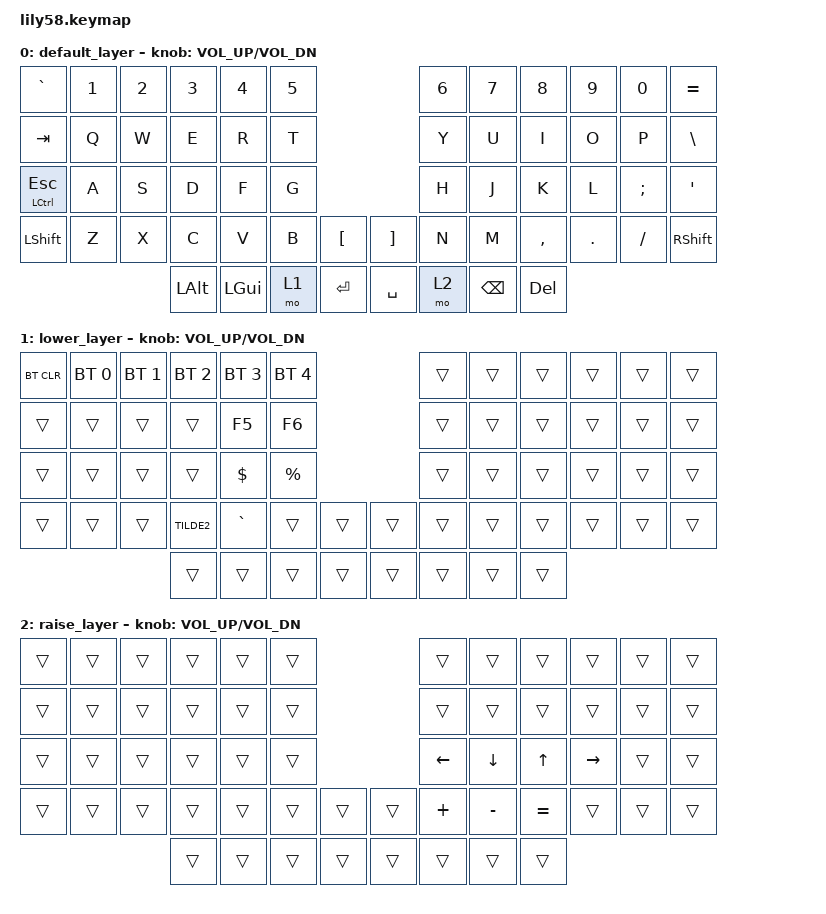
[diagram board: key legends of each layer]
/*
 * Copyright (c) 2020 The ZMK Contributors
 *
 * SPDX-License-Identifier: MIT
 */

#include <behaviors.dtsi>
#include <dt-bindings/zmk/keys.h>
#include <dt-bindings/zmk/bt.h>
#include <dt-bindings/zmk/ext_power.h>

/ {
	keymap {
		compatible = "zmk,keymap";

		default_layer {
// ------------------------------------------------------------------------------------------------------------
// |   `   |  1  |  2  |  3   |  4   |  5   |                   |  6   |  7    |  8    |  9   |   0   |   =   |
// |  TAB  |  Q  |  W  |  E   |  R   |  T   |                   |  Y   |  U    |  I    |  O   |   P   |   \   |
// |  CTRL |  A  |  S  |  D   |  F   |  G   |                   |  H   |  J    |  K    |  L   |   ;   |   '   |
// | SHIFT |  Z  |  X  |  C   |  V   |  B   |   "["  |  |  "]"  |  N   |  M    |  ,    |  .   |   /   | SHIFT |
//                     | ALT  | GUI  | LOWER|  ENTER |  | SPACE | RAISE| BSPC  | DEL   |
			bindings = <
&kp GRAVE     &kp N1 &kp N2 &kp N3   &kp N4   &kp N5                      &kp N6 &kp N7   &kp N8    &kp N9  &kp N0   &kp EQUAL
&kp TAB       &kp Q  &kp W  &kp E    &kp R    &kp T                       &kp Y  &kp U    &kp I     &kp O   &kp P    &kp BSLH
&mt LCTRL ESC &kp A  &kp S  &kp D    &kp F    &kp G                       &kp H  &kp J    &kp K     &kp L   &kp SEMI &kp SQT
&kp LSHFT     &kp Z  &kp X  &kp C    &kp V    &kp B  &kp LBKT  &kp RBKT   &kp N  &kp M    &kp COMMA &kp DOT &kp FSLH &kp RSHFT
                            &kp LALT &kp LGUI &mo 1  &kp RET   &kp SPACE  &mo 2  &kp BSPC &kp DEL
			>;

			sensor-bindings = <&inc_dec_kp C_VOL_UP C_VOL_DN>;
		};

		lower_layer {
// ------------------------------------------------------------------------------------------------------------
// | BTCLR | BT1 | BT2 | BT3 | BT4 |  BT5 |                   |      |       |       |      |       |       |
// |       |     |     |     |     |      |                   |      |       |       |      |       |       |
// |       |     |     |     |     |      |                   |      |       |       |      |       |       |
// |       |     |     |  ~  |  `  |      |        |  |       |      |       |       |      |       |       |
//                     |     |     |      |        |  |       |      |       |       |
			bindings = <
&bt BT_CLR &bt BT_SEL 0 &bt BT_SEL 1 &bt BT_SEL 2 &bt BT_SEL 3 &bt BT_SEL 4               &trans &trans &trans &trans &trans &trans
&trans     &trans       &trans       &trans       &kp F5       &kp F6                     &trans &trans &trans &trans &trans &trans
&trans     &trans       &trans       &trans       &kp DOLLAR   &kp PRCNT                  &trans &trans &trans &trans &trans &trans
&trans     &trans       &trans       &kp TILDE2   &kp GRAVE    &trans       &trans &trans &trans &trans &trans &trans &trans &trans
                                     &trans       &trans       &trans       &trans &trans &trans &trans &trans
			>;

			sensor-bindings = <&inc_dec_kp C_VOL_UP C_VOL_DN>;
		};

		raise_layer {
// ------------------------------------------------------------------------------------------------------------
// |       |     |     |      |      |      |                   |      |       |       |      |       |       |
// |       |     |     |      |      |      |                   |      |       |       |      |       |       |
// |       |     |     |      |      |      |                   |  <-  |   v   |   ^   |  ->  |       |       |
// |       |     |     |      |      |      |        |  |       |  +   |   -   |   =   |      |       |       |
//                     |      |      |      |        |  |       |      |       |       |
			bindings = <
&trans &trans &trans &trans &trans &trans               &trans   &trans    &trans    &trans    &trans &trans
&trans &trans &trans &trans &trans &trans               &trans   &trans    &trans    &trans    &trans &trans
&trans &trans &trans &trans &trans &trans               &kp LEFT &kp DOWN  &kp UP    &kp RIGHT &trans &trans
&trans &trans &trans &trans &trans &trans &trans &trans &kp PLUS &kp MINUS &kp EQUAL &trans    &trans &trans
                     &trans &trans &trans &trans &trans &trans   &trans    &trans
			>;

			sensor-bindings = <&inc_dec_kp C_VOL_UP C_VOL_DN>;
		};
	};
};
